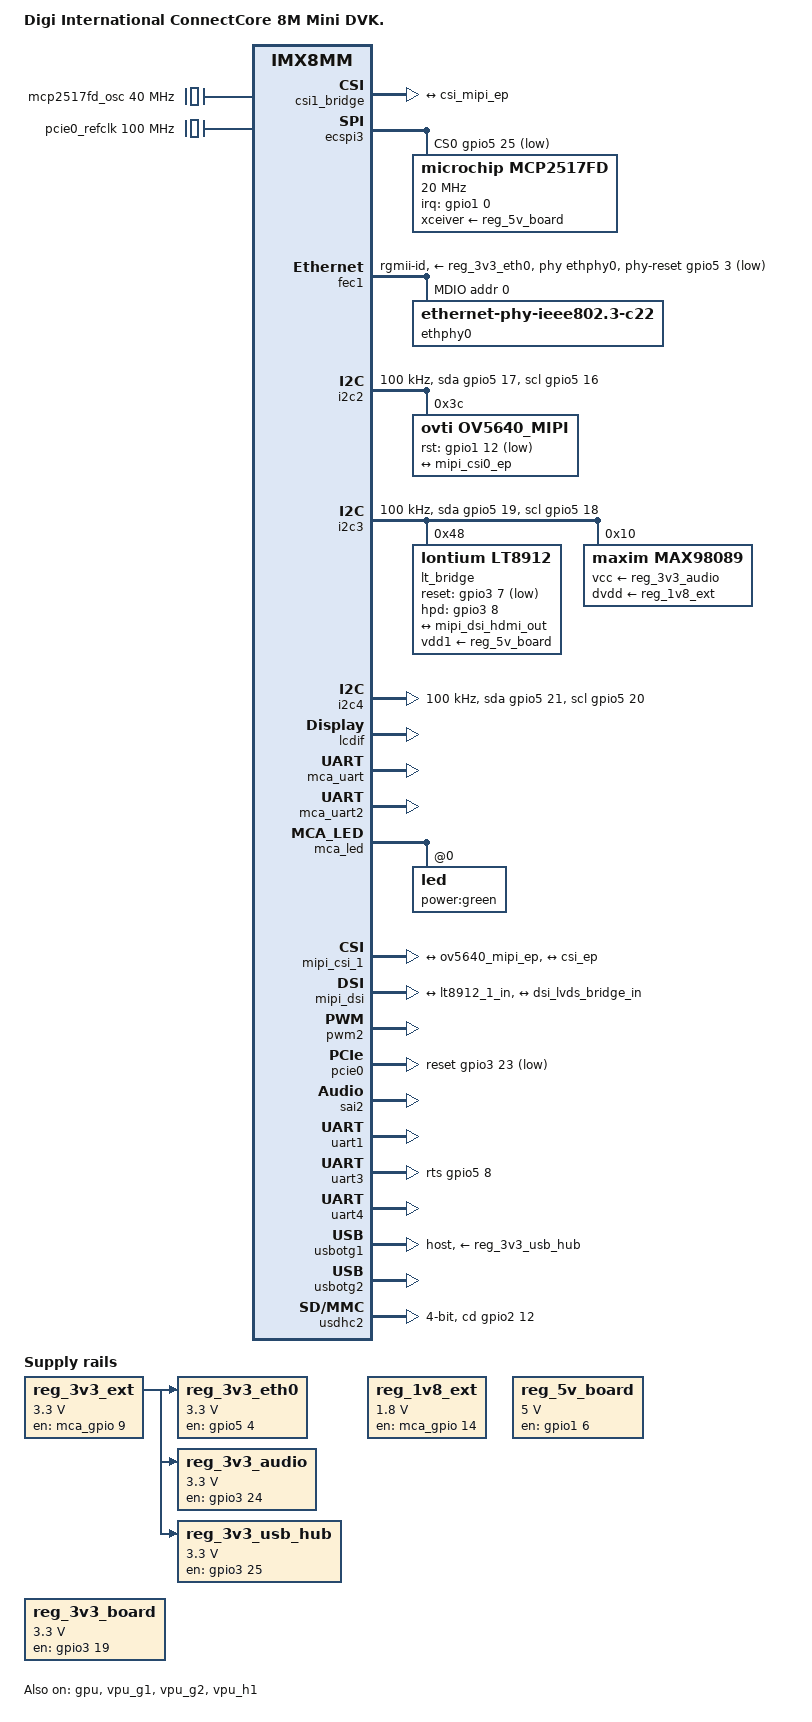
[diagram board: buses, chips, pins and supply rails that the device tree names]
/*
 * Copyright 2021, Digi International Inc.
 *
 * Permission to use, copy, modify, and/or distribute this software for any
 * purpose with or without fee is hereby granted, provided that the above
 * copyright notice and this permission notice appear in all copies.
 * THE SOFTWARE IS PROVIDED "AS IS" AND THE AUTHOR DISCLAIMS ALL WARRANTIES
 * WITH REGARD TO THIS SOFTWARE INCLUDING ALL IMPLIED WARRANTIES OF
 * MERCHANTABILITY AND FITNESS. IN NO EVENT SHALL THE AUTHOR BE LIABLE FOR
 * ANY SPECIAL, DIRECT, INDIRECT, OR CONSEQUENTIAL DAMAGES OR ANY DAMAGES
 * WHATSOEVER RESULTING FROM LOSS OF USE, DATA OR PROFITS, WHETHER IN AN
 * ACTION OF CONTRACT, NEGLIGENCE OR OTHER TORTIOUS ACTION, ARISING OUT OF
 * OR IN CONNECTION WITH THE USE OR PERFORMANCE OF THIS SOFTWARE.
 */

/dts-v1/;

/*
 * The device tree for the ConnectCore 8M Mini DVK is made out of different
 * device tree include files that contain the common hardware of all variants.
 *
 * A U-Boot boot script applies additional overlays for variant-specific
 * hardware, including:
 *  - Overlay for ConnectCore 8M Mini variants with Wi-Fi
 *  - Overlay for ConnectCore 8M Mini variants with Bluetooth
 *
 * If you are not going to use Digi's boot script, you can:
 *  - Manually add the overlays to U-Boot's "overlays" environment variable
 *  - Apply the overlay fragments manually to this device tree, if you don't
 *    use Digi U-Boot's "dboot" command
 */
/* i.MX8MM CPU */
#include "../freescale/imx8mm.dtsi"
/* Digi ConnectCore 8M Mini */
#include "ccimx8mm.dtsi"

/ {
	model = "Digi International ConnectCore 8M Mini DVK.";
	compatible = "digi,ccimx8mm-dvk", "digi,ccimx8mm", "digi,ccimx8m", "fsl,imx8mm";
	digi,machine,name = "ccimx8mm-dvk";

	chosen {
		bootargs = "console=ttymxc0,115200 earlycon=ec_imx6q,0x30860000,115200";
		stdout-path = &uart1;
	};

	lvds_backlight: lvds_backlight {
		compatible = "pwm-backlight";
		pwms = <&mca_pwm0 4 100000 0>;

		brightness-levels = < 0  1  2  3  4  5  6  7  8  9
				     10 11 12 13 14 15 16 17 18 19
				     20 21 22 23 24 25 26 27 28 29
				     30 31 32 33 34 35 36 37 38 39
				     40 41 42 43 44 45 46 47 48 49
				     50 51 52 53 54 55 56 57 58 59
				     60 61 62 63 64 65 66 67 68 69
				     70 71 72 73 74 75 76 77 78 79
				     80 81 82 83 84 85 86 87 88 89
				     90 91 92 93 94 95 96 97 98 99
				    100>;
		default-brightness-level = <80>;
		power-supply = <&reg_5v_board>;
		status = "disabled";
	};

	/* fixed crystal dedicated to mcp2517fd */
	mcp2517fd_osc: mcp2517fd_osc {
		compatible = "fixed-clock";
		#clock-cells = <0>;
		clock-frequency = <40000000>;
	};

	pcie0_refclk: pcie0-refclk {
		compatible = "fixed-clock";
		#clock-cells = <0>;
		clock-frequency = <100000000>;
	};

	regulators {
		compatible = "simple-bus";
		#address-cells = <1>;
		#size-cells = <0>;

		reg_3v3_ext: regulator@1 {
			compatible = "regulator-fixed";
			reg = <1>;
			regulator-name = "3v3_ext";
			regulator-min-microvolt = <3300000>;
			regulator-max-microvolt = <3300000>;
			gpio = <&mca_gpio 9 GPIO_ACTIVE_HIGH>;
			enable-active-high;
			regulator-always-on;
			regulator-boot-on;
		};

		reg_1v8_ext: regulator@2 {
			compatible = "regulator-fixed";
			reg = <2>;
			regulator-name = "1v8_ext";
			regulator-min-microvolt = <1800000>;
			regulator-max-microvolt = <1800000>;
			gpio = <&mca_gpio 14 GPIO_ACTIVE_HIGH>;
			enable-active-high;
			regulator-always-on;
			regulator-boot-on;
		};

		reg_3v3_eth0: regulator@3 {
			compatible = "regulator-fixed";
			reg = <3>;
			pinctrl-names = "default";
			pinctrl-0 = <&pinctrl_reg_3v3_eth0>;
			regulator-name = "3v3_eth0";
			regulator-min-microvolt = <3300000>;
			regulator-max-microvolt = <3300000>;
			gpio = <&gpio5 4 GPIO_ACTIVE_HIGH>;
			enable-active-high;
			startup-delay-us = <10000>;
			vin-supply = <&reg_3v3_ext>;
		};

		reg_5v_board: regulator@4 {
			compatible = "regulator-fixed";
			reg = <4>;
			pinctrl-names = "default";
			pinctrl-0 = <&pinctrl_reg_5v_board>;
			regulator-name = "5v_board";
			regulator-min-microvolt = <5000000>;
			regulator-max-microvolt = <5000000>;
			gpio = <&gpio1 6 GPIO_ACTIVE_HIGH>;
			enable-active-high;
		};

		reg_3v3_audio: regulator@5 {
			compatible = "regulator-fixed";
			reg = <5>;
			pinctrl-names = "default";
			pinctrl-0 = <&pinctrl_reg_3v3_aud>;
			regulator-name = "3v3_audio";
			regulator-min-microvolt = <3300000>;
			regulator-max-microvolt = <3300000>;
			gpio = <&gpio3 24 GPIO_ACTIVE_HIGH>;
			enable-active-high;
			startup-delay-us = <1000>;
			vin-supply = <&reg_3v3_ext>;
		};

		reg_3v3_usb_hub: regulator@6 {
			compatible = "regulator-fixed";
			reg = <6>;
			pinctrl-names = "default";
			pinctrl-0 = <&pinctrl_reg_3v3_usb_hub>;
			regulator-name = "3v3_usb_hub";
			regulator-min-microvolt = <3300000>;
			regulator-max-microvolt = <3300000>;
			gpio = <&gpio3 25 GPIO_ACTIVE_HIGH>;
			enable-active-high;
			vin-supply = <&reg_3v3_ext>;
		};

		reg_3v3_board: regulator@7 {
			compatible = "regulator-fixed";
			reg = <7>;
			pinctrl-names = "default";
			pinctrl-0 = <&pinctrl_reg_3v3_board>;
			regulator-name = "3v3_board";
			regulator-min-microvolt = <3300000>;
			regulator-max-microvolt = <3300000>;
			gpio = <&gpio3 19 GPIO_ACTIVE_HIGH>;
			enable-active-high;
			regulator-always-on;
		};
	};

	sound_max98089: sound-max98089 {
		compatible = "fsl,imx-audio-max98088";
		model = "imx-max98088";
		cpu-dai = <&sai2>;
		audio-codec = <&max98089>;
		audio-routing =
			"Headphone Jack", "HPL",
			"Headphone Jack", "HPR",
			"Ext Spk", "SPKL",
			"Ext Spk", "SPKR",
			"LineOut", "RECL",
			"LineOut", "RECR",
			"Mic1", "MIC1",
			"Mic2", "MIC2",
			"LineInA", "INA1",
			"LineInA", "INA2",
			"LineInB", "INB1",
			"LineInB", "INB2";
		status = "okay";
	};
};

&clk {
	assigned-clocks = <&clk IMX8MM_AUDIO_PLL1>, <&clk IMX8MM_AUDIO_PLL2>;
	assigned-clock-rates = <393216000>, <361267200>;
};

&csi1_bridge {
	fsl,mipi-mode;
	status = "okay";
	port {
		csi_ep: endpoint {
			remote-endpoint = <&csi_mipi_ep>;
		};
	};
};

&ecspi3 {
	#address-cells = <1>;
	#size-cells = <0>;
	num-cs = <1>;
	pinctrl-names = "default";
	pinctrl-0 = <&pinctrl_ecspi3 &pinctrl_ecspi3_cs>;
	cs-gpios = <&gpio5 25 GPIO_ACTIVE_LOW>;
	status = "okay";

	mcp2517fd: mcp2517fd@0 {
		reg = <0>;
		compatible = "microchip,mcp2517fd";
		pinctrl-names = "default";
		pinctrl-0 = <&pinctrl_mcp2517fd>;
		spi-max-frequency = <20000000>;
		interrupt-parent = <&gpio1>;
		interrupts = <0 IRQ_TYPE_LEVEL_LOW>;
		clocks = <&mcp2517fd_osc>;
		xceiver-supply = <&reg_5v_board>;
	};
};

&fec1 {
	pinctrl-names = "default";
	pinctrl-0 = <&pinctrl_fec1_gpio>,
		    <&pinctrl_fec1>;
	phy-mode = "rgmii-id";
	phy-handle = <&ethphy0>;
	digi,mdio-lt-supply = <&reg_1v8_ext>;
	phy-supply = <&reg_3v3_eth0>;
	phy-reset-gpios = <&gpio5 3 GPIO_ACTIVE_LOW>;
	phy-reset-duration = <1>;
	digi,phy-reset-in-suspend;
	fsl,magic-packet;
	status = "okay";

	mdio {
		#address-cells = <1>;
		#size-cells = <0>;

		ethphy0: ethernet-phy@0 {
			compatible = "ethernet-phy-ieee802.3-c22";
			reg = <0>;
			at803x,eee-disabled;
			at803x,vddio-1p8v;
		};
	};
};

/*
 * FlexSPI port distributed among various interfaces.
 * Conflicts with:
 * - MIPI to HDMI bridge
 * - MIPI to LVDS bridge
 */
&flexspi {
	status = "disabled";
};

&gpu {
	status = "okay";
};

/*
 * I2C2 connected to Audio codec.
 * Also available on:
 * - LVDS connector
 * - PCIe connector
 * - MIPI Camera connector
 * - Expansion connector
 */
&i2c2 {
	#address-cells = <1>;
	#size-cells = <0>;
	clock-frequency = <100000>;
	pinctrl-names = "default", "gpio";
	pinctrl-0 = <&pinctrl_i2c2>;
	pinctrl-1 = <&pinctrl_i2c2_gpio>;
	scl-gpios = <&gpio5 16 GPIO_ACTIVE_HIGH>;
	sda-gpios = <&gpio5 17 GPIO_ACTIVE_HIGH>;
	status = "okay";

	/*
	 * An inconsistent reset sequence makes
	 * the Goodix display's touch controller respond on one of two I2C
	 * addresses: 0x14 and 0x5D. To make sure the touchscreen
	 * works every time, the touch controller's description must
	 * be duplicated for both addresses.
	 */
	goodix_touch: gt9271@14 {
		compatible = "goodix,gt9271";
		reg = <0x14>;
		pinctrl-names = "default";
		pinctrl-0 = <&pinctrl_touch>;
		/* LVDS interrupt */
		interrupt-parent = <&gpio4>;
		interrupts = <28 IRQ_TYPE_EDGE_FALLING>;
		irq-gpios = <&gpio4 28 GPIO_ACTIVE_LOW>;
		reload-fw-on-resume;
		skip-firmware-request;
		vin-supply = <&reg_5v_board>;
		status = "disabled";
	};

	goodix_touch2: gt9271@5d {
		compatible = "goodix,gt9271";
		reg = <0x5d>;
		pinctrl-names = "default";
		pinctrl-0 = <&pinctrl_touch>;
		/* LVDS interrupt */
		interrupt-parent = <&gpio4>;
		interrupts = <28 IRQ_TYPE_EDGE_FALLING>;
		irq-gpios = <&gpio4 28 GPIO_ACTIVE_LOW>;
		reload-fw-on-resume;
		skip-firmware-request;
		vin-supply = <&reg_5v_board>;
		status = "disabled";
	};

	/* Touch on Fusion 10" display */
	fusion_touch: fusion@14 {
		compatible = "touchrev,fusion-touch";
		reg = <0x14>;
		pinctrl-names = "default";
		pinctrl-0 = <&pinctrl_touch>;
		/* LVDS interrupt */
		interrupt-parent = <&gpio4>;
		interrupts = <28 IRQ_TYPE_EDGE_FALLING>;
		status = "disabled";
	};

	/* MIPI-CSI camera */
	ov5640_mipi: ov5640_mipi@3c {
		compatible = "ovti,ov5640_mipi";
		reg = <0x3c>;
		pinctrl-names = "default";
		pinctrl-0 = <&pinctrl_mipi>;
		clocks = <&clk IMX8MM_CLK_CLKO1>;
		clock-names = "csi_mclk";
		assigned-clocks = <&clk IMX8MM_CLK_CLKO1>;
		assigned-clock-parents = <&clk IMX8MM_CLK_24M>;
		assigned-clock-rates = <24000000>;
		csi_id = <0>;
		rst-gpios = <&gpio1 12 GPIO_ACTIVE_LOW>;
		mclk = <24000000>;
		mclk_source = <0>;
		port {
			ov5640_mipi_ep: endpoint {
				remote-endpoint = <&mipi_csi0_ep>;
			};
		};
	};
};

/*
 * I2C3 connected to LT8912 MIPI-to-HDMI bridge and SN65DSI83 MIPI-to-LVDS bridge.
 * Also available on the HDMI connector.
 */
&i2c3 {
	clock-frequency = <100000>;
	pinctrl-names = "default", "gpio";
	pinctrl-0 = <&pinctrl_i2c3>;
	pinctrl-1 = <&pinctrl_i2c3_gpio>;
	scl-gpios = <&gpio5 18 GPIO_ACTIVE_HIGH>;
	sda-gpios = <&gpio5 19 GPIO_ACTIVE_HIGH>;
	status = "okay";

	dsi_lvds_bridge: sn65dsi84@2c {
		compatible = "ti,sn65dsi83";
		reg = <0x2c>;
		ti,dsi-lanes = <4>;
		ti,lvds-format = <1>;
		ti,lvds-bpp = <24>;
		ti,width-mm = <217>;
		ti,height-mm = <136>;
		enable-gpios = <&gpio3 0 GPIO_ACTIVE_HIGH>;
		interrupt-parent = <&gpio3>;
		interrupts = <6 IRQ_TYPE_LEVEL_HIGH>;
		pinctrl-names = "default";
		pinctrl-0 = <&pinctrl_lvds>;
		status = "disabled";

		display-timings {
			native-mode = <&lvds0_g101evn010>;

			/* AUO G101EVN01.0 */
			lvds0_g101evn010: timing@0 {
				clock-frequency = <69000000>;
				hactive = <1280>;
				vactive = <800>;
				hfront-porch = <120>;
				hback-porch = <1>;
				hsync-len = <8>;
				vback-porch = <10>;
				vfront-porch = <1>;
				vsync-len = <6>;
				hsync-active = <1>;
				vsync-active = <1>;
				de-active = <1>;
				pixelclk-active = <0>;
			};

			/* Fusion 10" F10A-0102 */
			lvds0_hsd101pfw2: timing@1 {
				clock-frequency = <69000000>;
				hactive = <1024>;
				vactive = <600>;
				hfront-porch = <120>;
				hback-porch = <1>;
				hsync-len = <8>;
				vback-porch = <10>;
				vfront-porch = <1>;
				vsync-len = <6>;
				hsync-active = <1>;
				vsync-active = <1>;
				de-active = <1>;
				pixelclk-active = <0>;
			};
		};

		port {
			dsi_lvds_bridge_in: endpoint {
				remote-endpoint = <&mipi_dsi_lvds_out>;
			};
		};
	};

	lt_bridge: lt8912@48 {
		compatible = "lontium,lt8912";
		reg = <0x48>;
		pinctrl-names = "default";
		pinctrl-0 = <&pinctrl_lt8912>, <&pinctrl_lt8912_hpd>;
		reset-gpios = <&gpio3 7 GPIO_ACTIVE_LOW>;
		hpd-gpios = <&gpio3 8 GPIO_ACTIVE_HIGH>;
		digi,dsi-lanes = <4>;
		vdd1-supply = <&reg_5v_board>;
		no-edid;
		status = "okay";

		port {
			lt8912_1_in: endpoint {
				/* add lanes */
				remote-endpoint = <&mipi_dsi_hdmi_out>;
			};
		};

		display-timings {
			native-mode = <&timing1>;

			/* High Definition */
			timing0: timing0 {
				clock-frequency = <74250000>;
				hactive = <1280>;
				vactive = <720>;
				hfront-porch = <110>;
				hsync-len = <40>;
				hback-porch = <220>;
				vfront-porch = <5>;
				vsync-len = <5>;
				vback-porch = <20>;
				hsync-active = <0>;
				vsync-active = <0>;
				de-active = <0>;
				pixelclk-active = <0>;
			};

			/* Full HD */
			timing1: timing1 {
				clock-frequency = <148500000>;
				hactive = <1920>;
				vactive = <1080>;
				hfront-porch = <88>;
				hsync-len = <44>;
				hback-porch = <148>;
				vfront-porch = <36>;
				vsync-len = <5>;
				vback-porch = <4>;
				hsync-active = <0>;
				vsync-active = <0>;
				de-active = <0>;
				pixelclk-active = <0>;
			};
		};
	};

	max98089: codec@10 {
		compatible = "maxim,max98089";
		reg = <0x10>;
		clocks = <&clk IMX8MM_CLK_SAI2_ROOT>;
		clock-names = "mclk";
		vcc-supply = <&reg_3v3_audio>;
		dvdd-supply = <&reg_1v8_ext>;
	};
};

/* Expansion I2C port bus */
&i2c4 {
	clock-frequency = <100000>;
	pinctrl-names = "default", "gpio";
	pinctrl-0 = <&pinctrl_i2c4>;
	pinctrl-1 = <&pinctrl_i2c4_gpio>;
	scl-gpios = <&gpio5 20 GPIO_ACTIVE_HIGH>;
	sda-gpios = <&gpio5 21 GPIO_ACTIVE_HIGH>;
	status = "okay";
};

&lcdif {
	status = "okay";
};

/*
 * Uncomment to enable MCA ADC channels on the XBee Cellular socket:
 *  - MCA_IO1 (channel 1) at XBEE1_UART_TX
 *  - MCA_IO2 (channel 2) at XBEE1_UART_RX
 *  - MCA_IO3 (channel 3) at XBEE1_UART_CTS
 *  - MCA_IO4 (channel 4) at XBEE1_UART_RTS
 *
 * These pins are used also by mca_uart2 below.
 * mca_uart2 must be disabled to be able to use these pins as ADCs.
 *
 * Edit adc-ch-list to include the ADC channels that you want to enable.
 */
// &mca_adc {
//	digi,adc-ch-list = <1 2 3 4>;
//	digi,adc-vref = <3000000>;
// };

/*
 * Uncomment to Enable Tamper detection. There are 2 digital (0 and 1) and 2
 * analog (2 and 3) tamper interfaces.
 */
//&mca_tamper {
//	digi,tamper-if-list = <0 1 2 3>;
//};

&mca_uart {
	status = "okay";
};

/* Assign the IO pins (see bindings) and change status to okay */
&mca_uart0 {
	iopins-names = "rx", "tx";
	iopins = <9 10>;
	status = "disabled";
};

/* Assign the IO pins (see bindings) and change status to okay */
&mca_uart1 {
	iopins-names = "rx", "tx";
	iopins = <11 16>;
	status = "disabled";
};

/* UART connected to XBee Cellular socket */
&mca_uart2 {
	iopins-names = "rx", "tx", "cts", "rts";
	iopins = <2 1 3 4>;
	status = "okay";
};

/* Power LED on MCA_IO13 */
&mca_led {
	#address-cells = <1>;
	#size-cells = <0>;
	status = "okay";

	led@0 {
		reg = <0>;
		label = "power:green";
		io = <13>;
		linux,default-trigger = "default-on";
		retain-state-suspended;
	};
};

&mipi_csi_1 {
	#address-cells = <1>;
	#size-cells = <0>;
	status = "okay";

	/* Camera 0  MIPI CSI-2 (CSIS0) */
	port@0 {
		reg = <0>;
		mipi_csi0_ep: endpoint {
			remote-endpoint = <&ov5640_mipi_ep>;
			data-lanes = <2>;
			csis-hs-settle = <13>;
			csis-clk-settle = <2>;
			csis-wclk;
		};

		csi_mipi_ep: endpoint@2 {
			remote-endpoint = <&csi_ep>;
		};
	};
};

&mipi_dsi {
	status = "okay";

	port@1 {
		mipi_dsi_hdmi_out: endpoint {
			remote-endpoint = <&lt8912_1_in>;
			attach-bridge;
		};
	};

	port@2 {
		mipi_dsi_lvds_out: endpoint {
			remote-endpoint = <&dsi_lvds_bridge_in>;
			attach-bridge;
		};
	};
};

&pwm2 {
	pinctrl-names = "default";
	pinctrl-0 = <&pinctrl_pwm2>;
	status = "okay";
};

/* Conflicts with usbotg2 power enable */
&pwm3 {
	pinctrl-names = "default";
	pinctrl-0 = <&pinctrl_pwm3>;
	status = "disabled";
};

/* Conflicts with usbotg2 overcurrent detect */
&pwm4 {
	pinctrl-names = "default";
	pinctrl-0 = <&pinctrl_pwm4>;
	status = "disabled";
};

&pcie0{
	pinctrl-names = "default";
	pinctrl-0 = <&pinctrl_pcie0>;
	disable-gpio = <&gpio3 20 GPIO_ACTIVE_LOW>;
	reset-gpio = <&gpio3 23 GPIO_ACTIVE_LOW>;
	wake-gpio = <&gpio3 21 GPIO_ACTIVE_LOW>;
	clocks = <&clk IMX8MM_CLK_PCIE1_ROOT>,
		 <&clk IMX8MM_CLK_PCIE1_AUX>,
		 <&clk IMX8MM_CLK_PCIE1_PHY>,
		 <&pcie0_refclk>;
	clock-names = "pcie", "pcie_aux", "pcie_phy", "pcie_bus";
	ext_osc = <1>;
	status = "okay";
};

&pcie0_ep{
	pinctrl-names = "default";
	pinctrl-0 = <&pinctrl_pcie0>;
	clocks = <&clk IMX8MM_CLK_PCIE1_ROOT>,
		 <&clk IMX8MM_CLK_PCIE1_AUX>,
		 <&clk IMX8MM_CLK_PCIE1_PHY>,
		 <&pcie0_refclk>;
	clock-names = "pcie", "pcie_aux", "pcie_phy", "pcie_bus";
	ext_osc = <1>;
	status = "disabled";
};

&sai2 {
	pinctrl-names = "default", "sleep";
	pinctrl-0 = <&pinctrl_sai2>;
	pinctrl-1 = <&pinctrl_sai2_sleep>;
	assigned-clocks = <&clk IMX8MM_CLK_SAI2>;
	assigned-clock-parents = <&clk IMX8MM_AUDIO_PLL1_OUT>;
	assigned-clock-rates = <12288000>;
	status = "okay";
};

/* Console */
&uart1 {
	pinctrl-names = "default", "sleep";
	pinctrl-0 = <&pinctrl_uart1>;
	pinctrl-1 = <&pinctrl_uart1_sleep>;
	status = "okay";
};

/* Expansion port/RS485 UART */
&uart3 {
	pinctrl-names = "default";
	assigned-clocks = <&clk IMX8MM_CLK_UART3>;
	assigned-clock-parents = <&clk IMX8MM_SYS_PLL1_80M>;

	/* RS-485 mode (comment these lines to use this UART in RS232 mode) */
	pinctrl-0 = <&pinctrl_uart3_rs485>, <&pinctrl_uart3_rs485_re>;
	linux,rs485-enabled-at-boot-time;
	rs485-rts-active-high;
	rts-gpios = <&gpio5 8 GPIO_ACTIVE_HIGH>;
	/* Disable DMA on this port when using rs485 */
	/delete-property/dmas;
	/delete-property/dma-names;

	/*
	 * RS-232 mode (uncomment these lines to use this UART in RS232 mode).
	 * (R291, R292 and R359 on the DVK must be removed).
	 */
	//fsl,uart-has-rtscts;
	//pinctrl-0 = <&pinctrl_uart3>;
	status = "okay";
};

/* XBee 2 UART shared with the Cortex M4 */
&uart4 {
	pinctrl-names = "default";
	pinctrl-0 = <&pinctrl_uart4>, <&pinctrl_xbee2_gpios>;
	assigned-clocks = <&clk IMX8MM_CLK_UART4>;
	assigned-clock-parents = <&clk IMX8MM_SYS_PLL1_80M>;
	fsl,uart-has-rtscts;
	status = "okay";
};

/* USB_OTG1 connected to usb hub */
&usbotg1 {
	pinctrl-names = "default";
	pinctrl-0 = <&pinctrl_usbotg1>;

	vbus-supply = <&reg_3v3_usb_hub>;
	fsl,reset-gpio = <&gpio5 10 GPIO_ACTIVE_LOW>;
	dr_mode = "host";
	disable-over-current;
	status = "okay";
};

/* USB_OTG2 connected to usb otg */
&usbotg2 {
	pinctrl-names = "default";
	pinctrl-0 = <&pinctrl_usbotg2>;

	power-active-high;
	status = "okay";
};

/* Micro SD card */
&usdhc2 {
	pinctrl-names = "default", "state_100mhz", "state_200mhz";
	pinctrl-0 = <&pinctrl_usdhc2>, <&pinctrl_usdhc2_gpio>,
		    <&pinctrl_usdhc2_vsel>;
	pinctrl-1 = <&pinctrl_usdhc2_100mhz>, <&pinctrl_usdhc2_gpio>,
		    <&pinctrl_usdhc2_vsel>;
	pinctrl-2 = <&pinctrl_usdhc2_200mhz>, <&pinctrl_usdhc2_gpio>,
		    <&pinctrl_usdhc2_vsel>;
	bus-width = <4>;
	/*
	 * UHS-I mode (remove the no-1.8-v line to use this uSD in UHS-I mode).
	 * Check schematics for additional hardware changes needed.
	 */
	no-1-8-v;
	cd-gpios = <&gpio2 12 GPIO_ACTIVE_HIGH>;
	status = "okay";
};

&vpu_g1 {
	status = "okay";
};

&vpu_g2 {
	status = "okay";
};

&vpu_h1 {
	status = "okay";
};

/* IOMUX */
&iomuxc {
	pinctrl-names = "default";
	pinctrl-0 = <&pinctrl_hog>;

	pinctrl_hog: hoggrp {
		fsl,pins = <
			/* GPIO1_IO10 on expansion connector */
			MX8MM_IOMUXC_GPIO1_IO10_GPIO1_IO10	0x16
			/* User LED 3 */
			MX8MM_IOMUXC_SD2_RESET_B_GPIO2_IO19	0x16
			/* User button 2 */
			MX8MM_IOMUXC_SD2_WP_GPIO2_IO20	0x156
			/*
			 * Expansion I2C port IRQ.
			 * Remove if you plan on using this line for a device
			 * connected to the expansion I2C port.
			 */
			MX8MM_IOMUXC_UART3_TXD_GPIO5_IO27	0x16
			/*
			 * Expansion I2C port GPIO.
			 * Remove if you plan on using this line for a device
			 * connected to the expansion I2C port.
			 */
			MX8MM_IOMUXC_UART3_RXD_GPIO5_IO26	0x16
		>;
	};

	pinctrl_ecspi3: ecspi3grp {
		fsl,pins = <
			MX8MM_IOMUXC_UART1_RXD_ECSPI3_SCLK		0x82
			MX8MM_IOMUXC_UART1_TXD_ECSPI3_MOSI		0x82
			MX8MM_IOMUXC_UART2_RXD_ECSPI3_MISO		0x82
		>;
	};

	pinctrl_ecspi3_cs: ecspi3cs {
		fsl,pins = <
			MX8MM_IOMUXC_UART2_TXD_GPIO5_IO25		0x40000
		>;
	};

	pinctrl_fec1_gpio: fec1gpiogrp {
		fsl,pins = <
			/* PHY reset */
			MX8MM_IOMUXC_SPDIF_TX_GPIO5_IO3		0x19
			/* PHY interrupt */
			MX8MM_IOMUXC_SAI3_MCLK_GPIO5_IO2	0x19
		>;
	};

	pinctrl_fec1: fec1grp {
		fsl,pins = <
			MX8MM_IOMUXC_ENET_MDC_ENET1_MDC		0x3
			MX8MM_IOMUXC_ENET_MDIO_ENET1_MDIO	0x3
			MX8MM_IOMUXC_ENET_TD3_ENET1_RGMII_TD3	0x1f
			MX8MM_IOMUXC_ENET_TD2_ENET1_RGMII_TD2	0x1f
			MX8MM_IOMUXC_ENET_TD1_ENET1_RGMII_TD1	0x1f
			MX8MM_IOMUXC_ENET_TD0_ENET1_RGMII_TD0	0x1f
			MX8MM_IOMUXC_ENET_RD3_ENET1_RGMII_RD3	0x91
			MX8MM_IOMUXC_ENET_RD2_ENET1_RGMII_RD2	0x91
			MX8MM_IOMUXC_ENET_RD1_ENET1_RGMII_RD1	0x91
			MX8MM_IOMUXC_ENET_RD0_ENET1_RGMII_RD0	0x91
			MX8MM_IOMUXC_ENET_TXC_ENET1_RGMII_TXC	0x1f
			MX8MM_IOMUXC_ENET_RXC_ENET1_RGMII_RXC	0x91
			MX8MM_IOMUXC_ENET_RX_CTL_ENET1_RGMII_RX_CTL	0x91
			MX8MM_IOMUXC_ENET_TX_CTL_ENET1_RGMII_TX_CTL	0x1f
		>;
	};

	pinctrl_flexspi: flexspigrp {
		fsl,pins = <
			MX8MM_IOMUXC_NAND_ALE_QSPI_A_SCLK	0x1c2
			MX8MM_IOMUXC_NAND_CE0_B_QSPI_A_SS0_B	0x82
			MX8MM_IOMUXC_NAND_DATA00_QSPI_A_DATA0	0x82
			MX8MM_IOMUXC_NAND_DATA01_QSPI_A_DATA1	0x82
			MX8MM_IOMUXC_NAND_DATA02_QSPI_A_DATA2	0x82
			MX8MM_IOMUXC_NAND_DATA03_QSPI_A_DATA3	0x82
		>;
	};

	pinctrl_i2c2: i2c2grp {
		fsl,pins = <
			MX8MM_IOMUXC_I2C2_SCL_I2C2_SCL			0x400001c3
			MX8MM_IOMUXC_I2C2_SDA_I2C2_SDA			0x400001c3
		>;
	};

	pinctrl_i2c2_gpio: i2c2grp-gpio {
		fsl,pins = <
			MX8MM_IOMUXC_I2C2_SCL_GPIO5_IO16		0x1c3
			MX8MM_IOMUXC_I2C2_SDA_GPIO5_IO17		0x1c3
		>;
	};

	pinctrl_i2c3: i2c3grp {
		fsl,pins = <
			MX8MM_IOMUXC_I2C3_SCL_I2C3_SCL			0x400001c3
			MX8MM_IOMUXC_I2C3_SDA_I2C3_SDA			0x400001c3
		>;
	};

	pinctrl_i2c3_gpio: i2c3grp-gpio {
		fsl,pins = <
			MX8MM_IOMUXC_I2C3_SCL_GPIO5_IO18		0x1c3
			MX8MM_IOMUXC_I2C3_SDA_GPIO5_IO19		0x1c3
		>;
	};

	pinctrl_i2c4: i2c4grp {
		fsl,pins = <
			MX8MM_IOMUXC_I2C4_SCL_I2C4_SCL			0x400001c3
			MX8MM_IOMUXC_I2C4_SDA_I2C4_SDA			0x400001c3
		>;
	};

	pinctrl_i2c4_gpio: i2c4grp-gpio {
		fsl,pins = <
			MX8MM_IOMUXC_I2C4_SCL_GPIO5_IO20		0x1c3
			MX8MM_IOMUXC_I2C4_SDA_GPIO5_IO21		0x1c3
		>;
	};

	pinctrl_lt8912: lt8912grp {
		fsl,pins = <
			/* Reset */
			MX8MM_IOMUXC_NAND_DATA01_GPIO3_IO7	0x19
			/* Interrupt */
			MX8MM_IOMUXC_NAND_DATA03_GPIO3_IO9	0x19
		>;
	};

	pinctrl_lt8912_hpd: lt8912-hpd {
		fsl,pins = <
			/* Hotplug detect */
			MX8MM_IOMUXC_NAND_DATA02_GPIO3_IO8	0x19
		>;
	};

	pinctrl_lvds: lvdsgrp {
		fsl,pins = <
			/* SN65DSI83 enable */
			MX8MM_IOMUXC_NAND_ALE_GPIO3_IO0		0x19
			/* SN65DSI83 interrupt */
			MX8MM_IOMUXC_NAND_DATA00_GPIO3_IO6	0x19
		>;
	};

	pinctrl_mcp2517fd: mcp2517fdgrp {
		fsl,pins = <
			MX8MM_IOMUXC_GPIO1_IO00_GPIO1_IO0 0x19
		>;
	};

	pinctrl_mipi: mipi {
		fsl,pins = <
			/* MIPI_CSI_RESET_N */
			MX8MM_IOMUXC_GPIO1_IO12_GPIO1_IO12 0x19
		>;
	};

	pinctrl_pwm2: pwm2grp {
		fsl,pins = <
			MX8MM_IOMUXC_GPIO1_IO13_PWM2_OUT        0x16
		>;
	};

	pinctrl_pwm3: pwm3grp {
		fsl,pins = <
			MX8MM_IOMUXC_GPIO1_IO14_PWM3_OUT        0x16
		>;
	};

	pinctrl_pwm4: pwm4grp {
		fsl,pins = <
			MX8MM_IOMUXC_GPIO1_IO15_PWM4_OUT        0x16
		>;
	};

	pinctrl_pcie0: pcie0grp {
		fsl,pins = <
			/* Disable GPIO */
			MX8MM_IOMUXC_SAI5_RXC_GPIO3_IO20	0x41
			/* Reset GPIO */
			MX8MM_IOMUXC_SAI5_RXD2_GPIO3_IO23	0x41
			/* Wake GPIO */
			MX8MM_IOMUXC_SAI5_RXD0_GPIO3_IO21	0x41
		>;
	};

	/* Ethernet PHYs regulator */
	pinctrl_reg_3v3_eth0: pinctrl_reg_3v3_eth0grp {
		fsl,pins = <
			/* PHY power */
			MX8MM_IOMUXC_SPDIF_RX_GPIO5_IO4		0x41
		>;
	};

	pinctrl_reg_5v_board: reg_5v_board_grp {
		fsl,pins = <
			/* 5V regulator power enable */
			MX8MM_IOMUXC_GPIO1_IO06_GPIO1_IO6		0x41
		>;
	};

	pinctrl_reg_3v3_aud: reg_3v3_aud_grp {
		fsl,pins = <
			/* Audio power enable */
			MX8MM_IOMUXC_SAI5_RXD3_GPIO3_IO24		0x41
		>;
	};

	pinctrl_reg_3v3_usb_hub: reg_3v3_usb_hub_grp {
		fsl,pins = <
			/* GPIO3_25 USB hub power enable */
			MX8MM_IOMUXC_SAI5_MCLK_GPIO3_IO25		0x41
		>;
	};

	pinctrl_reg_3v3_board: reg_3v3_board_grp {
		fsl,pins = <
			/* GPIO3_19 board regulator enable */
			MX8MM_IOMUXC_SAI5_RXFS_GPIO3_IO19		0x41
		>;
	};

	pinctrl_sai2: sai2grp {
		fsl,pins = <
			MX8MM_IOMUXC_SAI2_RXD0_SAI2_RX_DATA0	0xd6
			MX8MM_IOMUXC_SAI2_TXD0_SAI2_TX_DATA0	0xd6
			MX8MM_IOMUXC_SAI2_TXFS_SAI2_TX_SYNC		0xd6
			MX8MM_IOMUXC_SAI2_TXC_SAI2_TX_BCLK		0xd6
			MX8MM_IOMUXC_SAI2_MCLK_SAI2_MCLK		0xd6
		>;
	};

	pinctrl_sai2_sleep: sai2sleepgrp {
		fsl,pins = <
			MX8MM_IOMUXC_SAI2_RXD0_GPIO4_IO23		0x100
			MX8MM_IOMUXC_SAI2_TXD0_GPIO4_IO26		0x100
			MX8MM_IOMUXC_SAI2_TXFS_GPIO4_IO24		0x100
			MX8MM_IOMUXC_SAI2_TXC_GPIO4_IO25		0x100
			MX8MM_IOMUXC_SAI2_MCLK_GPIO4_IO27		0x100
		>;
	};

	pinctrl_touch: touchgrp {
		fsl,pins = <
			/* LVDS touch interrupt */
			MX8MM_IOMUXC_SAI3_RXFS_GPIO4_IO28	0x19
		>;
	};

	pinctrl_uart1: uart1grp {
		fsl,pins = <
			MX8MM_IOMUXC_SAI2_RXC_UART1_DCE_RX	0x140
			MX8MM_IOMUXC_SAI2_RXFS_UART1_DCE_TX	0x140
		>;
	};

	pinctrl_uart1_sleep: uart1sleepgrp {
		fsl,pins = <
			MX8MM_IOMUXC_SAI2_RXC_GPIO4_IO22	0x100
			MX8MM_IOMUXC_SAI2_RXFS_GPIO4_IO21	0x100
		>;
	};

	pinctrl_uart3: uart3grp {
		fsl,pins = <
			MX8MM_IOMUXC_ECSPI1_SCLK_UART3_DCE_RX		0x140
			MX8MM_IOMUXC_ECSPI1_MOSI_UART3_DCE_TX		0x140
			MX8MM_IOMUXC_ECSPI1_SS0_UART3_DCE_RTS_B		0x140
			MX8MM_IOMUXC_ECSPI1_MISO_UART3_DCE_CTS_B	0x140
		>;
	};

	pinctrl_uart3_rs485: uart3_rs485grp {
		fsl,pins = <
			MX8MM_IOMUXC_ECSPI1_SCLK_UART3_DCE_RX		0x140
			MX8MM_IOMUXC_ECSPI1_MOSI_UART3_DCE_TX		0x140
		>;
	};

	pinctrl_uart3_rs485_re: uart3_rs485grp_re {
		fsl,pins = <
			/* RS485 RE#/DE line */
			MX8MM_IOMUXC_ECSPI1_MISO_GPIO5_IO8		0x16
		>;
	};

	pinctrl_uart4: uart4grp {
		fsl,pins = <
			MX8MM_IOMUXC_UART4_RXD_UART4_DCE_RX		0x140
			MX8MM_IOMUXC_UART4_TXD_UART4_DCE_TX		0x140
			MX8MM_IOMUXC_ECSPI2_SS0_UART4_DCE_RTS_B		0x140
			MX8MM_IOMUXC_ECSPI2_MISO_UART4_DCE_CTS_B	0x140
		>;
	};

	pinctrl_usbotg1: usbotg1grp {
		fsl,pins = <
			/* USB hub reset */
			MX8MM_IOMUXC_ECSPI2_SCLK_GPIO5_IO10		0x16
		>;
	};

	pinctrl_usbotg2: usbotg2grp {
		fsl,pins = <
			/* USB otg2 power enable */
			MX8MM_IOMUXC_GPIO1_IO14_USB2_OTG_PWR		0x16
			/* USB otg2 overcurrent detect */
			MX8MM_IOMUXC_GPIO1_IO15_USB2_OTG_OC		0x16
			/* USB otg2 ID */
			MX8MM_IOMUXC_GPIO1_IO11_USB2_OTG_ID		0x16
		>;
	};

	pinctrl_usdhc2_gpio: usdhc2gpiogrp {
		fsl,pins = <
			/* Card detect */
			MX8MM_IOMUXC_SD2_CD_B_GPIO2_IO12	0x1c4
		>;
	};

	pinctrl_usdhc2_vsel: usdhc2grp_vsel {
		fsl,pins = <
			MX8MM_IOMUXC_GPIO1_IO04_USDHC2_VSELECT	0x1d0
		>;
	};

	pinctrl_usdhc2: usdhc2grp {
		fsl,pins = <
			MX8MM_IOMUXC_SD2_CLK_USDHC2_CLK		0x190
			MX8MM_IOMUXC_SD2_CMD_USDHC2_CMD		0x1d0
			MX8MM_IOMUXC_SD2_DATA0_USDHC2_DATA0	0x1d0
			MX8MM_IOMUXC_SD2_DATA1_USDHC2_DATA1	0x1d0
			MX8MM_IOMUXC_SD2_DATA2_USDHC2_DATA2	0x1d0
			MX8MM_IOMUXC_SD2_DATA3_USDHC2_DATA3	0x1d0
		>;
	};

	pinctrl_usdhc2_100mhz: usdhc2grp100mhz {
		fsl,pins = <
			MX8MM_IOMUXC_SD2_CLK_USDHC2_CLK		0x194
			MX8MM_IOMUXC_SD2_CMD_USDHC2_CMD		0x1d4
			MX8MM_IOMUXC_SD2_DATA0_USDHC2_DATA0	0x1d4
			MX8MM_IOMUXC_SD2_DATA1_USDHC2_DATA1	0x1d4
			MX8MM_IOMUXC_SD2_DATA2_USDHC2_DATA2	0x1d4
			MX8MM_IOMUXC_SD2_DATA3_USDHC2_DATA3	0x1d4
		>;
	};

	pinctrl_usdhc2_200mhz: usdhc2grp200mhz {
		fsl,pins = <
			MX8MM_IOMUXC_SD2_CLK_USDHC2_CLK		0x196
			MX8MM_IOMUXC_SD2_CMD_USDHC2_CMD		0x1d6
			MX8MM_IOMUXC_SD2_DATA0_USDHC2_DATA0	0x1d6
			MX8MM_IOMUXC_SD2_DATA1_USDHC2_DATA1	0x1d6
			MX8MM_IOMUXC_SD2_DATA2_USDHC2_DATA2	0x1d6
			MX8MM_IOMUXC_SD2_DATA3_USDHC2_DATA3	0x1d6
		>;
	};

	pinctrl_xbee2_gpios: xbee2grp {
		fsl,pins = <
			/* XBEE_RESET_N */
			MX8MM_IOMUXC_GPIO1_IO08_GPIO1_IO8	0x16
			/* XBEE_ON/SLEEP_N */
			MX8MM_IOMUXC_GPIO1_IO09_GPIO1_IO9	0x16
			/* XBEE_SLEEP_RQ */
			MX8MM_IOMUXC_GPIO1_IO07_GPIO1_IO7	0x16
		>;
	};
};
